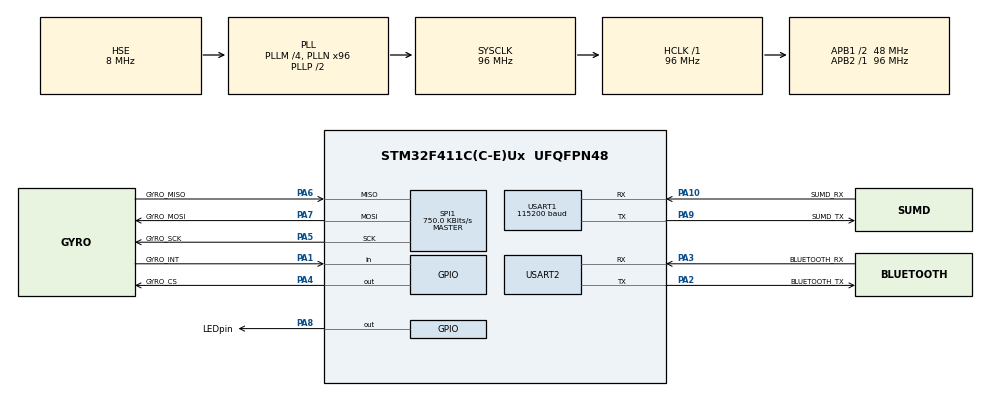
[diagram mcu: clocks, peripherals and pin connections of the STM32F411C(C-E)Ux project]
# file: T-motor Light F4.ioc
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Mcu.Family=STM32F4
Mcu.Name=STM32F411C(C-E)Ux
Mcu.Package=UFQFPN48
NVIC.PriorityGroup=NVIC_PRIORITYGROUP_4
NVIC.SPI1_IRQn=true\:0\:0\:false\:false\:true\:true\:true\:true
NVIC.USART1_IRQn=true\:0\:0\:false\:false\:true\:true\:true\:true
NVIC.USART2_IRQn=true\:0\:0\:false\:false\:true\:true\:true\:true
PA1.GPIO_Label=GYRO_INT
PA1.GPIO_PuPd=GPIO_PULLUP
PA1.Signal=GPIO_Input
PA10.GPIO_Label=SUMD_RX
PA10.Mode=Asynchronous
PA10.Signal=USART1_RX
PA2.GPIO_Label=BLUETOOTH_TX
PA2.Mode=Asynchronous
PA2.Signal=USART2_TX
PA3.GPIO_Label=BLUETOOTH_RX
PA3.Mode=Asynchronous
PA3.Signal=USART2_RX
PA4.GPIO_Label=GYRO_CS
PA4.GPIO_Speed=GPIO_SPEED_FREQ_VERY_HIGH
PA4.Signal=GPIO_Output
PA5.GPIO_Label=GYRO_SCK
PA5.Mode=Full_Duplex_Master
PA5.Signal=SPI1_SCK
PA6.GPIO_Label=GYRO_MISO
PA6.Mode=Full_Duplex_Master
PA6.Signal=SPI1_MISO
PA7.GPIO_Label=GYRO_MOSI
PA7.Mode=Full_Duplex_Master
PA7.Signal=SPI1_MOSI
PA8.GPIO_Label=LEDpin
PA8.GPIO_Speed=GPIO_SPEED_FREQ_VERY_HIGH
PA8.Signal=GPIO_Output
PA9.GPIO_Label=SUMD_TX
PA9.Mode=Asynchronous
PA9.Signal=USART1_TX
PH0\ -\ OSC_IN.Mode=HSE-External-Oscillator
PH0\ -\ OSC_IN.Signal=RCC_OSC_IN
PH1\ -\ OSC_OUT.Mode=HSE-External-Oscillator
PH1\ -\ OSC_OUT.Signal=RCC_OSC_OUT
ProjectManager.HeapSize=0x200
ProjectManager.StackSize=0x400
ProjectManager.TargetToolchain=STM32CubeIDE
RCC.48MHZClocksFreq_Value=48000000
RCC.AHBFreq_Value=96000000
RCC.APB1CLKDivider=RCC_HCLK_DIV2
RCC.APB1Freq_Value=48000000
RCC.APB1TimFreq_Value=96000000
RCC.APB2Freq_Value=96000000
RCC.APB2TimFreq_Value=96000000
RCC.CortexFreq_Value=96000000
RCC.HCLKFreq_Value=96000000
RCC.HSE_VALUE=8000000
RCC.HSI_VALUE=16000000
RCC.LSE_VALUE=32768
RCC.PLLM=4
RCC.PLLN=96
RCC.PLLSourceVirtual=RCC_PLLSOURCE_HSE
RCC.SYSCLKFreq_VALUE=96000000
RCC.SYSCLKSource=RCC_SYSCLKSOURCE_PLLCLK
RCC.VCOOutputFreq_Value=192000000
SPI1.BaudRatePrescaler=SPI_BAUDRATEPRESCALER_128
SPI1.CLKPhase=SPI_PHASE_2EDGE
SPI1.CLKPolarity=SPI_POLARITY_HIGH
SPI1.CalculateBaudRate=750.0 KBits/s
SPI1.Direction=SPI_DIRECTION_2LINES
SPI1.Mode=SPI_MODE_MASTER
SPI1.VirtualType=VM_MASTER
USART1.BaudRate=115200
USART1.VirtualMode=VM_ASYNC
USART2.VirtualMode=VM_ASYNC
board=custom

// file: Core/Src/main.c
/* USER CODE BEGIN Header */
/**
  ******************************************************************************
  * @file           : main.c
  * @brief          : Main program body
  ******************************************************************************
  * @attention
  *
  * Copyright (c) 2022 STMicroelectronics.
  * All rights reserved.
  *
  * This software is licensed under terms that can be found in the LICENSE file
  * in the root directory of this software component.
  * If no LICENSE file comes with this software, it is provided AS-IS.
  *
  ******************************************************************************
  */
/* USER CODE END Header */
#include "main.h"
#include "spi.h"
#include "usart.h"
#include "gpio.h"

/* USER CODE BEGIN Includes */
#include "sumd.h"
#include "ICM20602.h"
#include "stm32f4xx.h"
#include "ecRCC.h"
#include "ecPWM.h"
#include "ecGPIO.h"
#include "ecTIM.h"
#include <stdio.h>
#include <time.h>
/* USER CODE END Includes */

/* USER CODE BEGIN PTD */
// To use UART printf() Function
int _write(int file, char *p, int len)
{

    for(int i = 0; i < len; ++i)
    {
    	LL_USART_TransmitData8(USART1, *(p+i));  //send data to usart1
    	LL_mDelay(1);
    }

    return len;
}
/* USER CODE END PTD */

/* USER CODE BEGIN PD */
/*Number of Channel in Receiver.
 * Check the 3rd sumd_rx_buf array value(sumd_rx_buf[2]) to see how many channel that your SUMD Receiver Uses*/
#define CH_NUM (uint8_t)(16)
#define SUMD_BUFFER_LENGTH (uint8_t)((CH_NUM + 1)*2 + 2)
#define GAYJOYGO (double)( 0.25)
#define DEG2RAD (double)(0.017453)
#define RAD2DEG (double)(57.295779)

/* USER CODE END PD */

/* USER CODE BEGIN PV */
/*SUMD related variables---------------------------------------------------------*/
extern uint8_t sumd_rx_buf[37];		// sumd buffer
extern uint8_t sumd_rx_cplt_flag; // sumd read complete flag

extern uint8_t uart2_rx_flag;
extern uint8_t uart2_rx_data;

/*UART command parsing related variables-----------------------------------------*/

extern uint8_t uart1_rx_flag;
extern uint8_t uart1_rx_data;

/*Gyro offset related varables---------------------------------------------------*/
double gyro_x_offset = 0.00;
double gyro_y_offset = 0.00;
double gyro_z_offset = 0.00;

/*Timer for Control loop related variables---------------------------------------*/

extern uint8_t tim2_1ms_flag;

/*PID gain related variables-----------------------------------------------------*/

double p_gain_roll = 0.8F; double p_gain_pitch = 0.8F;double p_gain_yaw = 0.0F;
double i_gain_roll = 0.052F; double i_gain_pitch = 0.052F;double i_gain_yaw = 0.0F;
double d_gain_roll = 0.1F; double d_gain_pitch = 0.1F;double d_gain_yaw = 0.0F;

double pitch_rate_Kp=6.0; double roll_rate_Kp=6.0;double yaw_rate_Kp=15.0;
double pitch_rate_Ki=5.0; double roll_rate_Ki=5.0;double yaw_rate_Ki=0.0;
double pitch_rate_Kd=1.5; double roll_rate_Kd=1.5;double yaw_rate_Kd=2.0;

double pitch_ref =0.0;
double pitch_p=0.0;
double pitch_i=0.0;
double pitch_d=0.0;
double pitch_error=0.0;
double pitch_error_sum=0.0;
double pitch_error_derivative=0.0;
double pitch_pid=0.0;

double pitch_rate_ref =0.0;
double pitch_rate_p=0.0;
double pitch_rate_i=0.0;
double pitch_rate_d=0.0;
double pitch_rate_error=0.0;
double pitch_rate_error_sum=0.0;
double pitch_rate_error_derivative=0.0;
double pitch_rate_pid=0.0;

double roll_ref =0.0;
double roll_p=0.0;
double roll_i=0.0;
double roll_d=0.0;
double roll_error=0.0;
double roll_error_sum=0.0;
double roll_error_derivative=0.0;
double roll_pid=0.0;

double roll_rate_ref =0.0;
double roll_rate_p=0.0;
double roll_rate_i=0.0;
double roll_rate_d=0.0;
double roll_rate_error=0.0;
double roll_rate_error_sum=0.0;
double roll_rate_error_derivative=0.0;
double roll_rate_pid=0.0;

double yaw_ref =0.0;
double yaw_p=0.0;
double yaw_i=0.0;
double yaw_d=0.0;
double yaw_error=0.0;
double yaw_error_sum=0.0;
double yaw_error_derivative=0.0;
double yaw_pid=0.0;

double yaw_rate_ref =0.0;
double yaw_rate_p=0.0;
double yaw_rate_i=0.0;
double yaw_rate_d=0.0;
double yaw_rate_error=0.0;
double yaw_rate_error_sum=0.0;
double yaw_rate_error_derivative=0.0;
double yaw_rate_pid=0.0;

double ICM20602gyro_x_prev=0.0;
double ICM20602gyro_y_prev=0.0;
double ICM20602gyro_z_prev=0.0;

/*Final motor write value variables----------------------------------------------*/
double Motor1_pulsewidth = 0.0;	double Motor2_pulsewidth = 0.0;
double Motor3_pulsewidth = 0.0;	double Motor4_pulsewidth = 0.0;

double stick_offset_us = 187.5; //(250 - 150) / 2 us

/*PWM pin structures and variables*/
typedef struct
{
	GPIO_TypeDef *port;
	uint16_t pin;
} _Pin;

_Pin MOTOR_pin[4] =
{
	{GPIOB, 4}, // TIM3 Ch4
	{GPIOB, 5},	// TIM3 Ch5
	{GPIOB, 6}, // TIM4 Ch6
	{GPIOB, 7}  // TIM4 Ch7
};

PWM_t MOTOR[4];

double oneShot125[16] = {0.0,};

int gyro_offset_cnt = 0;
int arm_flag =0;
/* USER CODE END PV */

void SystemClock_Config(void);
/* USER CODE BEGIN PFP */
void motor_setup(void);
uint8_t IsGyroCalibrated(void);
/* USER CODE END PFP */

int main(void)
{

  /* MCU Configuration--------------------------------------------------------*/

  /* Reset of all peripherals, Initializes the Flash interface and the Systick. */
  HAL_Init();

  /* Configure the system clock */
  SystemClock_Config();

  /* USER CODE BEGIN SysInit */

  motor_setup();

  TIM_INT_init(TIM2, 1);
  /* USER CODE END SysInit */

  /* Initialize all configured peripherals */
  MX_GPIO_Init();
  MX_SPI1_Init();
  MX_USART1_UART_Init();
  MX_USART2_UART_Init();
  /* USER CODE BEGIN 2 */
  printf("Waiting for Pin Initialization...\n\r");
  LL_mDelay(2000);

  ICM20602_Initialization();

  LL_USART_EnableIT_RXNE(USART2);
  LL_USART_EnableIT_RXNE(USART1);  //USART bluetooth or usb cabe intterupt enable

  printf("USART2 pin for SUMD Interrupt enabled\n\r");

  /* USER CODE END 2 */

  /* Infinite loop */
  /* USER CODE BEGIN WHILE */
  while (1)
  {

	  /*===============================================================*/
	  /*                    1kHz Control loop Part                     */
	  /*===============================================================*/
	  if((tim2_1ms_flag == 1) && (IsGyroCalibrated()==1))
	  {
		  LL_GPIO_TogglePin(LEDpin_GPIO_Port, LEDpin_Pin);
		  tim2_1ms_flag = 0;
		  //PITCH PID CONTROL
		  pitch_ref		   		 = (oneShot125[2] - stick_offset_us)*0.8f;// -50 ~ 50 deg
		  pitch_error 	   		 = pitch_ref - ICM20602.angle_pitch;
		  pitch_error_sum 		+= pitch_error * 0.001;
		  if (sumd_ch.ch1< 8725 || arm_flag == 0) pitch_error_sum = 0.0;
		  (pitch_error_sum  >  50.0) ? (pitch_error_sum=  50.0) :
		  (pitch_error_sum  < -50.0) ? (pitch_error_sum= -50.0) :0 ;
		  pitch_error_derivative = ICM20602.gyro_x;

		  pitch_p 		   		 = p_gain_pitch * pitch_error;
		  pitch_i          		 = i_gain_pitch * pitch_error_sum;
		  pitch_d 			     = d_gain_pitch * pitch_error_derivative;
		  pitch_pid 			 = pitch_p + pitch_i + pitch_d;

		  //PITCH RATE PID CONTROLL
		  pitch_rate_ref = pitch_pid;
		  pitch_rate_error = pitch_rate_ref-ICM20602.gyro_x;
		  pitch_rate_error_sum += pitch_rate_error*0.001;
		  if (sumd_ch.ch1<8725 || arm_flag == 0)     pitch_rate_error_sum = 0.0;
		  //(pitch_rate_error_sum  >  50.0) ? (pitch_rate_error_sum= 50.0) :
		  //(pitch_rate_error_sum  < -50.0) ? (pitch_rate_error_sum=-50.0) : 0;
		  pitch_rate_error_derivative = (ICM20602.gyro_x - ICM20602gyro_x_prev)/0.001;
		  ICM20602gyro_x_prev = ICM20602.gyro_x;
		  pitch_rate_p = pitch_rate_Kp * pitch_rate_error;
		  pitch_rate_i = pitch_rate_Ki * pitch_rate_error_sum;
		  pitch_rate_i = pitch_rate_Kd * pitch_rate_error_derivative;
		  pitch_rate_pid = pitch_rate_p + pitch_rate_i + pitch_rate_d;

		  //ROLL PID CONTROLL
		  roll_ref		   		 = (oneShot125[1] - stick_offset_us) * 0.8f;// -50 ~ 50 deg
		  roll_error 	   		 = roll_ref 	  - ICM20602.angle_roll;
		  roll_error_sum 		+= roll_error     * 0.001;
		  roll_error_derivative  = ICM20602.gyro_y;
		  if (sumd_ch.ch1<8725 || arm_flag == 0)     roll_error_sum = 0.0;
		  (roll_error_sum  >  50.0) ? (roll_error_sum= 50.0) :
		  (roll_error_sum  < -50.0) ? (roll_error_sum=-50.0) : 0;

		  roll_p 		   		 = p_gain_roll    * roll_error;
		  roll_i          		 = i_gain_roll    * roll_error_sum;
		  roll_d 			     = d_gain_roll    * roll_error_derivative;
		  roll_pid 			     = roll_p + roll_i + roll_d;

		  //ROLL RATE PID CONTROLL
		  roll_rate_ref = roll_pid;
		  roll_rate_error = roll_rate_ref-ICM20602.gyro_y;
		  roll_rate_error_sum += roll_rate_error*0.001;
		  if (sumd_ch.ch1<8725 || arm_flag == 0)     roll_rate_error_sum = 0.0;
		  //(roll_rate_error_sum  >  50.0) ? (roll_rate_error_sum= 50.0) :
		  //(roll_rate_error_sum  < -50.0) ? (roll_rate_error_sum=-50.0) : 0;
		  roll_rate_error_derivative = (ICM20602.gyro_y - ICM20602gyro_y_prev)/0.001;
		  ICM20602gyro_y_prev=ICM20602.gyro_y;
		  roll_rate_p = roll_rate_Kp * roll_rate_error;
		  roll_rate_i = roll_rate_Ki * roll_rate_error_sum;
		  roll_rate_d = roll_rate_Kd * roll_rate_error_derivative;
		  roll_rate_pid = roll_rate_p + roll_rate_i + roll_rate_d;

		  //yaw RATE PID CONTROLL
		  yaw_rate_ref = (oneShot125[3] - stick_offset_us) * 8.0f;
		  yaw_rate_error = yaw_rate_ref-ICM20602.gyro_z;
		  yaw_rate_error_sum += yaw_rate_error*0.001;
		  if (sumd_ch.ch1<8725 || arm_flag == 0)     yaw_rate_error_sum = 0.0;
		  //(yaw_rate_error_sum  >  50.0) ? (yaw_rate_error_sum= 50.0) :
		  //(yaw_rate_error_sum  < -50.0) ? (yaw_rate_error_sum=-50.0) : 0;
		  yaw_rate_error_derivative = (ICM20602.gyro_z - ICM20602gyro_z_prev)/0.001;
		  ICM20602gyro_z_prev=ICM20602.gyro_z;
		  yaw_rate_p = yaw_rate_Kp * yaw_rate_error;
		  yaw_rate_i = yaw_rate_Ki * yaw_rate_error_sum;
		  yaw_rate_d = yaw_rate_Kd * yaw_rate_error_derivative;
		  yaw_rate_pid = yaw_rate_p + yaw_rate_i + yaw_rate_d;

		  /**
		   * oneShot125[0] --> Throttle
		   * oneShot125[1] --> Roll
		   * oneShot125[2] --> Pitch
		   * oneShot125[3] --> Yaw
		   * oneShot125[4] --> Arming
		   */

		  /**	 FRT
		   * [1]     [2]
		   *    *   *
		   *      *
		   *    *   *
		   * [4]     [3]
		   *	 BCK
		   */
/*
		  Motor1_pulsewidth = oneShot125[0] - roll_pid  - pitch_pid  - 0.5 *  (oneShot125[3] - stick_offset_us);
		  Motor2_pulsewidth = oneShot125[0] + roll_pid  - pitch_pid  + 0.5 *  (oneShot125[3] - stick_offset_us);
		  Motor3_pulsewidth = oneShot125[0] + roll_pid  + pitch_pid  - 0.5 *  (oneShot125[3] - stick_offset_us);
		  Motor4_pulsewidth = oneShot125[0] - roll_pid  + pitch_pid  + 0.5 *  (oneShot125[3] - stick_offset_us);
*/

			  Motor1_pulsewidth = oneShot125[0]  - pitch_pid - roll_pid - 0.5*(oneShot125[3] - stick_offset_us) ;
			  Motor2_pulsewidth = oneShot125[0]  - pitch_pid + roll_pid + 0.5*(oneShot125[3] - stick_offset_us) ;
			  Motor3_pulsewidth = oneShot125[0]  + pitch_pid + roll_pid - 0.5*(oneShot125[3] - stick_offset_us) ;
			  Motor4_pulsewidth = oneShot125[0]  + pitch_pid - roll_pid + 0.5*(oneShot125[3] - stick_offset_us) ;

	  }
	  /*===============================================================*/
	  /*                Gyro Sensor Processing Part                    */
	  /*===============================================================*/
	  if(ICM20602_DataReady() == 1)
		{

			if( gyro_offset_cnt<5000)
			{
				gyro_offset_cnt++;
				gyro_x_offset +=ICM20602.gyro_x_raw;
				gyro_y_offset +=ICM20602.gyro_y_raw;
				gyro_z_offset +=ICM20602.gyro_z_raw;
			}
			else if(gyro_offset_cnt == 5000)
			{
				gyro_offset_cnt++;
				gyro_x_offset /=5000.0;
				gyro_y_offset /=5000.0;
				gyro_z_offset /=5000.0;
			}
			else
			{

				ICM20602_Get6AxisRawData(&ICM20602.acc_x_raw, &ICM20602.gyro_x_raw);

				//Raw data to deg/s conversion with sensor direction conversion. check AFS_SEL value for Gyro sensor Register!
				ICM20602.gyro_x =   (float)(  ICM20602.gyro_y_raw/16.4f - gyro_y_offset);
				ICM20602.gyro_y =   (float)(-(ICM20602.gyro_x_raw/16.4f - gyro_x_offset));
				ICM20602.gyro_z =   (float)(  ICM20602.gyro_z_raw/16.4f - gyro_z_offset);

				//Complementary filter

				ICM20602.angle_pitch += ICM20602.gyro_x * 0.001; //(sampling frequency: 1kHz)
				ICM20602.angle_roll  += ICM20602.gyro_y * 0.001;
				ICM20602.angle_yaw   += ICM20602.gyro_z * 0.001;

				ICM20602.angle_pitch += ICM20602.angle_roll * sin(ICM20602.gyro_z * 0.001 * DEG2RAD);
				ICM20602.angle_roll -= ICM20602.angle_pitch * sin(ICM20602.gyro_z * 0.001 * DEG2RAD);

				ICM20602.acc_total_vect = sqrt((ICM20602.acc_x_raw*ICM20602.acc_x_raw)
											  +(ICM20602.acc_y_raw*ICM20602.acc_y_raw)
											  +(ICM20602.acc_z_raw*ICM20602.acc_z_raw));

				ICM20602.angle_pitch_acc = asin((float)(ICM20602.acc_x_raw /ICM20602.acc_total_vect))*RAD2DEG;
				ICM20602.angle_roll_acc  = asin((float)(-ICM20602.acc_y_raw)/ICM20602.acc_total_vect)*-RAD2DEG;

				ICM20602.angle_pitch = (ICM20602.angle_pitch * 0.95f + ICM20602.angle_pitch_acc * 0.05f);
				ICM20602.angle_roll  = (ICM20602.angle_roll *  0.95f + ICM20602.angle_roll_acc  * 0.05f);

				//printf("%.2f,%.2f\n\r",ICM20602.angle_pitch_acc,ICM20602.angle_roll_acc);

				//if (printcnt == 1000)
				//{
					//printf("%.2f,%.2f\n\r",-(ICM20602.angle_pitch + 0.8f),-(ICM20602.angle_roll - 1.0f)) ;
					//printf("%.2f,%.2f,%.2f\n\r",ICM20602.gyro_x,ICM20602.gyro_y,ICM20602.gyro_z) ;
					//printf("%.2f,%.2f\n\r",ICM20602.angle_pitch_acc,ICM20602.angle_roll_acc);
					//printcnt =0;
				//}

			}

		}

	  /*===============================================================*/
	  /*                     PID gain Tuning Part                      */
	  /*===============================================================*/

/*
	  if(uart1_rx_flag == 1)
		  {
			  uart1_rx_flag = 0;

			  //print pid gain. roll==pitch
			  //printf("\n\tP_roll\tI_roll\tD_roll\tx10e-3\n\r");

			  switch (uart1_rx_data)
			  {

				  case 'q':
					  p_gain_roll  += 0.025;
					  p_gain_pitch += 0.025;
					  break;

				  case 'a':
					  p_gain_roll  -= 0.025;
					  p_gain_pitch -= 0.025;
					  break;

				  case 'w':
					  i_gain_roll  += 0.0005;
					  i_gain_pitch += 0.0005;
					  break;

				  case 's':
					  i_gain_roll  -= 0.0005;
					  i_gain_pitch -= 0.0005;
					  break;

				  case 'e':
					  d_gain_roll  += 0.025;
					  d_gain_pitch += 0.025;
					  break;

				  case 'd':
					  d_gain_roll  -= 0.1;
					  d_gain_pitch -= 0.1;
					  break;
				  //------------------------------------------------ RATE GAIN-----------
				  case 'r':
					  pitch_rate_Kp  += 0.001;
					  roll_rate_Kp   += 0.001;
					  break;

				  case 'f':
					  pitch_rate_Kp  -= 0.001;
					  roll_rate_Kp   -= 0.001;
					  break;

				  case 't':
					  pitch_rate_Ki  += 0.1;
					  roll_rate_Ki   += 0.1;
					  break;

				  case 'g':
					  pitch_rate_Ki  -= 0.1;
					  roll_rate_Ki   -= 0.1;
					  break;

				  case 'y':
					  pitch_rate_Kd  += 0.001;
					  roll_rate_Kd   += 0.001;
					  break;

				  case 'h':
					  pitch_rate_Kd  -= 0.001;
					  roll_rate_Kd   -= 0.001;
					  break;

			  }
			  printf("P: %.3lf\tI: %.3lf\tD: %.3lf\trateP: %.3lf\trateI: %.3lf\trateD: %.3lf\n\r", p_gain_roll, i_gain_roll, d_gain_roll,pitch_rate_Kp,pitch_rate_Ki,pitch_rate_Kd);

		  }

*/

		  /*===============================================================*/
		  /*                       SUMD Receiver part                      */
		  /*===============================================================*/

		  if((sumd_rx_cplt_flag == 1) && (IsGyroCalibrated() == 1)) //Check whether sumd_rx_buf Receive data is completely filled
		  {
			  sumd_rx_cplt_flag = 0;
			  if(CRC16_check(sumd_rx_buf,  SUMD_BUFFER_LENGTH - 1) == 0) //Check if sumd_rx_buf passed "CRC-16 Sick" Test
			  {
				  SUMD_parsing(sumd_rx_buf, &sumd_ch);
				  ch_data_to_oneShot125(oneShot125, &sumd_ch);

				 // printf("%d\t%d\t%d\t%d\t%d\t%d\t%d\t%d\t\n\r",  sumd_ch.ch1, sumd_ch.ch2, sumd_ch.ch3, sumd_ch.ch4, sumd_ch.ch5, sumd_ch.ch6, sumd_ch.ch7, sumd_ch.ch8);
				 //printf("%.1f\t%.1f\t%.1f\t%.1f\t%.1f\t%.1f\t%.1f\t%.1f\t\n\r", oneShot125[0],oneShot125[1],oneShot125[2],oneShot125[3],oneShot125[4],oneShot125[5],oneShot125[6],oneShot125[7]);

				  /*===============================================================*/
				  /*                        Motor Write Part                       */
				  /*===============================================================*/
				  /*PWM Write with pulsewidth, added min/max saturation for motor pulse width, which is 120us to 250us*/

				  //Arming Flag
				  if (sumd_ch.ch5 < 10000 && sumd_ch.ch1<8725 ) //switch on , throttle minimum
				  {
					  arm_flag = 1;

				  }
				  else if (sumd_ch.ch5 > 10000)
				  {
					  arm_flag = 0;
				  }
				  //FAILSAFE
				  if (arm_flag == 0)
				  {
					  Motor1_pulsewidth = 125.0;
					  Motor2_pulsewidth = 125.0;
					  Motor3_pulsewidth = 125.0;
					  Motor4_pulsewidth = 125.0;
				  }

				  PWM_pulsewidth_us(&MOTOR[0], (Motor1_pulsewidth > 250.0) ? 250.0 :
						  	  	  	  	  	   (Motor1_pulsewidth < 125.0) ? 125.0 :
						  	  	  	  	  	    Motor1_pulsewidth);

				  PWM_pulsewidth_us(&MOTOR[1], (Motor2_pulsewidth > 250.0) ? 250.0 :
						  	  	  	  	  	   (Motor2_pulsewidth < 125.0) ? 125.0 :
						  	  	  	  	  	    Motor2_pulsewidth);

				  PWM_pulsewidth_us(&MOTOR[2], (Motor3_pulsewidth > 250.0) ? 250.0 :
						  	  	  	  	  	   (Motor3_pulsewidth < 125.0) ? 125.0 :
						  	  	  	  	  	    Motor3_pulsewidth);

				  PWM_pulsewidth_us(&MOTOR[3], (Motor4_pulsewidth > 250.0) ? 250.0 :
						  	  	  	  	  	   (Motor4_pulsewidth < 125.0) ? 125.0 :
						  	  	  	  	  	    Motor4_pulsewidth);

			  }
		  }

    /* USER CODE END WHILE */

  }
}

void SystemClock_Config(void)
{
  RCC_OscInitTypeDef RCC_OscInitStruct = {0};
  RCC_ClkInitTypeDef RCC_ClkInitStruct = {0};

  /** Configure the main internal regulator output voltage
  */
  __HAL_RCC_PWR_CLK_ENABLE();
  __HAL_PWR_VOLTAGESCALING_CONFIG(PWR_REGULATOR_VOLTAGE_SCALE1);

  /** Initializes the RCC Oscillators according to the specified parameters
  * in the RCC_OscInitTypeDef structure.
  */
  RCC_OscInitStruct.OscillatorType = RCC_OSCILLATORTYPE_HSE;
  RCC_OscInitStruct.HSEState = RCC_HSE_ON;
  RCC_OscInitStruct.PLL.PLLState = RCC_PLL_ON;
  RCC_OscInitStruct.PLL.PLLSource = RCC_PLLSOURCE_HSE;
  RCC_OscInitStruct.PLL.PLLM = 4;
  RCC_OscInitStruct.PLL.PLLN = 96;
  RCC_OscInitStruct.PLL.PLLP = RCC_PLLP_DIV2;
  RCC_OscInitStruct.PLL.PLLQ = 4;
  if (HAL_RCC_OscConfig(&RCC_OscInitStruct) != HAL_OK)
  {
    Error_Handler();
  }

  /** Initializes the CPU, AHB and APB buses clocks
  */
  RCC_ClkInitStruct.ClockType = RCC_CLOCKTYPE_HCLK|RCC_CLOCKTYPE_SYSCLK
                              |RCC_CLOCKTYPE_PCLK1|RCC_CLOCKTYPE_PCLK2;
  RCC_ClkInitStruct.SYSCLKSource = RCC_SYSCLKSOURCE_PLLCLK;
  RCC_ClkInitStruct.AHBCLKDivider = RCC_SYSCLK_DIV1;
  RCC_ClkInitStruct.APB1CLKDivider = RCC_HCLK_DIV2;
  RCC_ClkInitStruct.APB2CLKDivider = RCC_HCLK_DIV1;

  if (HAL_RCC_ClockConfig(&RCC_ClkInitStruct, FLASH_LATENCY_3) != HAL_OK)
  {
    Error_Handler();
  }
}

/* USER CODE BEGIN 4 */
void motor_setup(void)
{

	/*PWM Setup------------------------------------------------------*/
	PWM_init(&MOTOR[0], MOTOR_pin[0].port, MOTOR_pin[0].pin);
	PWM_init(&MOTOR[1], MOTOR_pin[1].port, MOTOR_pin[1].pin);
	PWM_init(&MOTOR[2], MOTOR_pin[2].port, MOTOR_pin[2].pin);
	PWM_init(&MOTOR[3], MOTOR_pin[3].port, MOTOR_pin[3].pin);
	HAL_Delay(10);

	PWM_period_us(&MOTOR[0], 500);
	PWM_period_us(&MOTOR[1], 500);
	PWM_period_us(&MOTOR[2], 500);
	PWM_period_us(&MOTOR[3], 500);
	HAL_Delay(10);

	PWM_pulsewidth_us(&MOTOR[0], 125.0);
	PWM_pulsewidth_us(&MOTOR[1], 125.0);
	PWM_pulsewidth_us(&MOTOR[2], 125.0);
	PWM_pulsewidth_us(&MOTOR[3], 125.0);

	PWM_2kHz_init(&MOTOR[0], MOTOR_pin[0].port, MOTOR_pin[0].pin);
	PWM_2kHz_init(&MOTOR[1], MOTOR_pin[1].port, MOTOR_pin[1].pin);
	PWM_2kHz_init(&MOTOR[2], MOTOR_pin[2].port, MOTOR_pin[2].pin);
	PWM_2kHz_init(&MOTOR[3], MOTOR_pin[3].port, MOTOR_pin[3].pin);
	HAL_Delay(10);

	PWM_2kHz(&MOTOR[0]);
	PWM_2kHz(&MOTOR[1]);
	PWM_2kHz(&MOTOR[2]);
	PWM_2kHz(&MOTOR[3]);
	HAL_Delay(10);

	PWM_2kHz_pulsewidth_us(&MOTOR[0], 125.0);
	PWM_2kHz_pulsewidth_us(&MOTOR[1], 125.0);
	PWM_2kHz_pulsewidth_us(&MOTOR[2], 125.0);
	PWM_2kHz_pulsewidth_us(&MOTOR[3], 125.0);

}
uint8_t IsGyroCalibrated(void){
	if (gyro_offset_cnt > 5000){
		return 1;
	}
	else{
		return 0;
	}
}
/* USER CODE END 4 */

void Error_Handler(void)
{
  __disable_irq();
  while (1)
  {
  }
}
